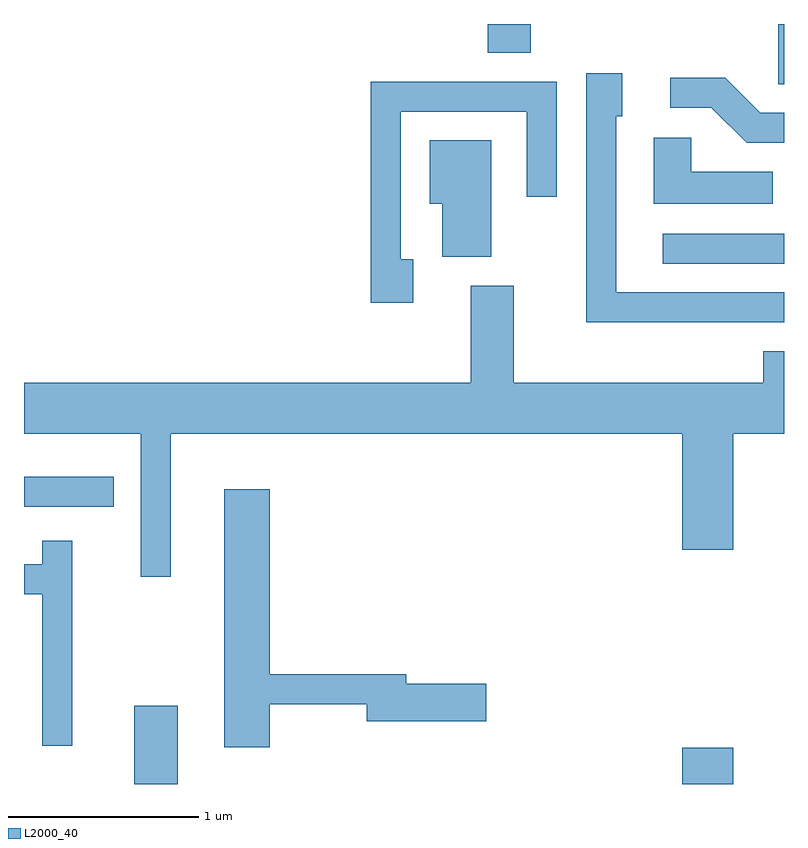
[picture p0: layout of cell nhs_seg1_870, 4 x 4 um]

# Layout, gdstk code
import gdstk
lib = gdstk.Library(unit=1e-6, precision=1e-09)
def R(c, l, rs):  # rectangles x0, y0, x1, y1
    for r in rs: c.add(gdstk.rectangle(r[:2], r[2:], *l))
def P(c, l, *ps):  # polygons
    for p in ps: c.add(gdstk.Polygon(p, *l))
L2000_40 = (2000, 40)

nhs_seg1_870 = lib.new_cell('nhs_seg1_870')
R(nhs_seg1_870, L2000_40, [(212.191,917.712,212.419,918.124), (215.076,917.712,215.344,917.904), (211.611,919.171,212.083,919.329), (214.973,920.451,215.611,920.609), (215.581,921.396,215.611,921.712), (214.051,921.561,214.279,921.712)])
P(nhs_seg1_870, L2000_40, [(215.611,920.299),(214.729,920.299),(214.729,921.226),(214.759,921.226),(214.759,921.454),(214.571,921.454),(214.571,920.141),(215.611,920.141)],
  [(215.611,921.244),(215.487,921.244),(215.302,921.429),(215.013,921.429),(215.013,921.271),(215.229,921.271),(215.414,921.086),(215.611,921.086)],
  [(213.659,920.474),(213.594,920.474),(213.594,921.251),(214.256,921.251),(214.256,920.803),(214.414,920.803),(214.414,921.409),(213.436,921.409),(213.436,920.246),(213.659,920.246)],
  [(215.553,920.934),(215.124,920.934),(215.124,921.114),(214.926,921.114),(214.926,920.766),(215.553,920.766)],
  [(214.069,921.099),(213.746,921.099),(213.746,920.766),(213.811,920.766),(213.811,920.486),(214.069,920.486)],
  [(212.384,919.556),(215.076,919.556),(215.076,918.946),(215.344,918.946),(215.344,919.556),(215.611,919.556),(215.611,919.989),(215.501,919.989),(215.501,919.824),(214.189,919.824),(214.189,920.334),(213.961,920.334),(213.961,919.824),(211.611,919.824),(211.611,919.556),(212.226,919.556),(212.226,918.803),(212.384,918.803)],
  [(212.904,918.131),(213.416,918.131),(213.416,918.041),(214.044,918.041),(214.044,918.239),(213.624,918.239),(213.624,918.289),(212.904,918.289),(212.904,919.264),(212.666,919.264),(212.666,917.906),(212.904,917.906)],
  [(211.864,918.993),(211.706,918.993),(211.706,918.869),(211.611,918.869),(211.611,918.711),(211.706,918.711),(211.706,917.913),(211.864,917.913)])

lib.write_gds('nhs_seg1_870.gds')
